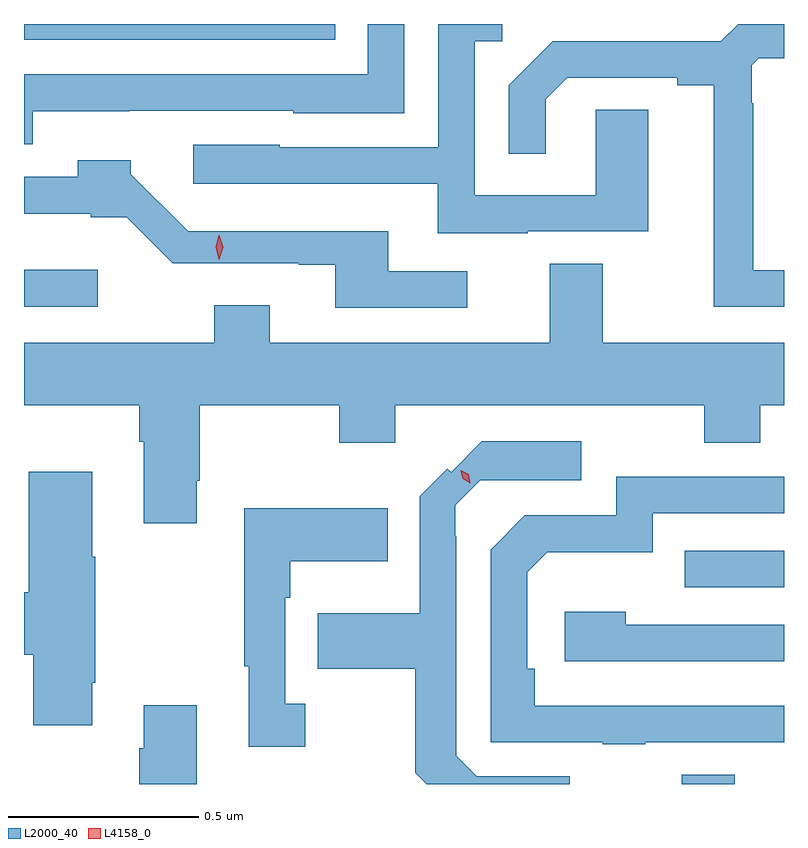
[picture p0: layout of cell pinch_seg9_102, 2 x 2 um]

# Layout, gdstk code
import gdstk
lib = gdstk.Library(unit=1e-6, precision=1e-09)
def R(c, l, rs):  # rectangles x0, y0, x1, y1
    for r in rs: c.add(gdstk.rectangle(r[:2], r[2:], *l))
def P(c, l, *ps):  # polygons
    for p in ps: c.add(gdstk.Polygon(p, *l))
L2000_40 = (2000, 40)
L4158_0 = (4158, 0)

pinch_seg9_102 = lib.new_cell('pinch_seg9_102')
R(pinch_seg9_102, L2000_40, [(1145.201,1202.083,1145.341,1202.107), (1145.209,1202.601,1145.47,1202.697), (1143.47,1203.339,1143.664,1203.436), (1143.47,1204.041,1144.289,1204.083)])
P(pinch_seg9_102, L2000_40, [(1143.493,1203.854),(1143.747,1203.854),(1143.747,1203.855),(1144.179,1203.855),(1144.179,1203.848),(1144.47,1203.848),(1144.47,1204.083),(1144.374,1204.083),(1144.374,1203.951),(1143.47,1203.951),(1143.47,1203.766),(1143.493,1203.766)],
  [(1144.795,1203.537),(1145.113,1203.537),(1145.113,1203.857),(1144.974,1203.857),(1144.974,1203.633),(1144.656,1203.633),(1144.656,1204.038),(1144.729,1204.038),(1144.729,1204.083),(1144.56,1204.083),(1144.56,1203.759),(1144.143,1203.759),(1144.143,1203.765),(1143.915,1203.765),(1143.915,1203.662),(1144.559,1203.662),(1144.559,1203.533),(1144.795,1203.533)],
  [(1145.47,1203.435),(1145.389,1203.435),(1145.389,1203.875),(1145.385,1203.875),(1145.385,1203.975),(1145.403,1203.993),(1145.47,1203.993),(1145.47,1204.083),(1145.35,1204.083),(1145.304,1204.038),(1144.862,1204.038),(1144.746,1203.922),(1144.746,1203.741),(1144.843,1203.741),(1144.843,1203.885),(1144.9,1203.942),(1145.189,1203.942),(1145.189,1203.922),(1145.285,1203.922),(1145.285,1203.339),(1145.47,1203.339)],
  [(1144.636,1203.432),(1144.429,1203.432),(1144.429,1203.537),(1143.902,1203.537),(1143.751,1203.688),(1143.751,1203.724),(1143.611,1203.724),(1143.611,1203.681),(1143.47,1203.681),(1143.47,1203.584),(1143.646,1203.584),(1143.646,1203.575),(1143.741,1203.575),(1143.862,1203.454),(1144.193,1203.454),(1144.193,1203.449),(1144.289,1203.449),(1144.289,1203.336),(1144.636,1203.336)],
  [(1143.925,1202.881),(1143.933,1202.881),(1143.933,1203.08),(1144.3,1203.08),(1144.3,1202.981),(1144.447,1202.981),(1144.447,1203.08),(1145.26,1203.08),(1145.26,1202.981),(1145.407,1202.981),(1145.407,1203.08),(1145.47,1203.08),(1145.47,1203.244),(1144.993,1203.244),(1144.993,1203.452),(1144.853,1203.452),(1144.853,1203.244),(1144.117,1203.244),(1144.117,1203.343),(1143.97,1203.343),(1143.97,1203.244),(1143.47,1203.244),(1143.47,1203.08),(1143.773,1203.08),(1143.773,1202.984),(1143.785,1202.984),(1143.785,1202.769),(1143.925,1202.769)],
  [(1144.906,1202.103),(1144.662,1202.103),(1144.608,1202.157),(1144.608,1202.735),(1144.605,1202.735),(1144.605,1202.817),(1144.671,1202.883),(1144.936,1202.883),(1144.936,1202.985),(1144.675,1202.985),(1144.594,1202.904),(1144.584,1202.913),(1144.512,1202.84),(1144.512,1202.533),(1144.243,1202.533),(1144.243,1202.386),(1144.5,1202.386),(1144.5,1202.113),(1144.53,1202.083),(1144.906,1202.083)],
  [(1143.649,1202.35),(1143.657,1202.35),(1143.657,1202.681),(1143.649,1202.681),(1143.649,1202.905),(1143.482,1202.905),(1143.482,1202.588),(1143.47,1202.588),(1143.47,1202.423),(1143.494,1202.423),(1143.494,1202.238),(1143.649,1202.238)],
  [(1145.105,1202.193),(1145.47,1202.193),(1145.47,1202.289),(1144.814,1202.289),(1144.814,1202.386),(1144.794,1202.386),(1144.794,1202.64),(1144.847,1202.693),(1145.124,1202.693),(1145.124,1202.796),(1145.47,1202.796),(1145.47,1202.892),(1145.028,1202.892),(1145.028,1202.79),(1144.788,1202.79),(1144.698,1202.7),(1144.698,1202.193),(1144.993,1202.193),(1144.993,1202.188),(1145.105,1202.188)],
  [(1144.21,1202.294),(1144.158,1202.294),(1144.158,1202.573),(1144.171,1202.573),(1144.171,1202.669),(1144.427,1202.669),(1144.427,1202.809),(1144.05,1202.809),(1144.05,1202.393),(1144.061,1202.393),(1144.061,1202.181),(1144.21,1202.181)],
  [(1145.47,1202.502),(1145.054,1202.502),(1145.054,1202.536),(1144.893,1202.536),(1144.893,1202.406),(1145.47,1202.406)],
  [(1143.925,1202.29),(1143.785,1202.29),(1143.785,1202.177),(1143.773,1202.177),(1143.773,1202.083),(1143.925,1202.083)])
P(pinch_seg9_102, L4158_0, [(1144.644,1202.875),(1144.624,1202.886),(1144.619,1202.909),(1144.619,1202.909),(1144.619,1202.909),(1144.64,1202.898),(1144.644,1202.875),(1144.644,1202.875)],
  [(1143.984,1203.463),(1143.983,1203.464),(1143.974,1203.495),(1143.983,1203.527),(1143.984,1203.527),(1143.984,1203.527),(1143.994,1203.495),(1143.984,1203.464)])

lib.write_gds('pinch_seg9_102.gds')
